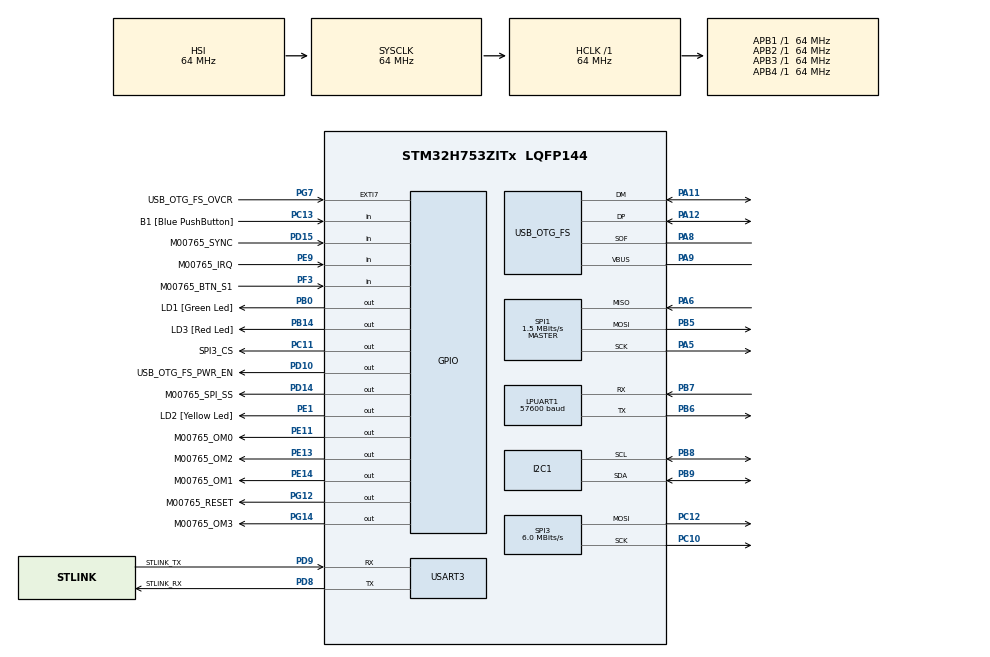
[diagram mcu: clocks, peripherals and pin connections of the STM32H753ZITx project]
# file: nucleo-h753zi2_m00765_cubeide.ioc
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Bdma.LPUART1_RX.0.Direction=DMA_PERIPH_TO_MEMORY
Bdma.LPUART1_RX.0.EventEnable=DISABLE
Bdma.LPUART1_RX.0.Instance=BDMA_Channel0
Bdma.LPUART1_RX.0.MemDataAlignment=DMA_MDATAALIGN_BYTE
Bdma.LPUART1_RX.0.MemInc=DMA_MINC_ENABLE
Bdma.LPUART1_RX.0.Mode=DMA_NORMAL
Bdma.LPUART1_RX.0.PeriphDataAlignment=DMA_PDATAALIGN_BYTE
Bdma.LPUART1_RX.0.PeriphInc=DMA_PINC_DISABLE
Bdma.LPUART1_RX.0.Polarity=HAL_DMAMUX_REQ_GEN_RISING
Bdma.LPUART1_RX.0.Priority=DMA_PRIORITY_LOW
Bdma.LPUART1_RX.0.RequestNumber=1
Bdma.LPUART1_RX.0.SignalID=NONE
Bdma.LPUART1_RX.0.SyncEnable=DISABLE
Bdma.LPUART1_RX.0.SyncPolarity=HAL_DMAMUX_SYNC_NO_EVENT
Bdma.LPUART1_RX.0.SyncRequestNumber=1
Bdma.LPUART1_RX.0.SyncSignalID=NONE
Bdma.LPUART1_TX.1.Direction=DMA_MEMORY_TO_PERIPH
Bdma.LPUART1_TX.1.EventEnable=DISABLE
Bdma.LPUART1_TX.1.Instance=BDMA_Channel1
Bdma.LPUART1_TX.1.MemDataAlignment=DMA_MDATAALIGN_BYTE
Bdma.LPUART1_TX.1.MemInc=DMA_MINC_ENABLE
Bdma.LPUART1_TX.1.Mode=DMA_NORMAL
Bdma.LPUART1_TX.1.PeriphDataAlignment=DMA_PDATAALIGN_BYTE
Bdma.LPUART1_TX.1.PeriphInc=DMA_PINC_DISABLE
Bdma.LPUART1_TX.1.Polarity=HAL_DMAMUX_REQ_GEN_RISING
Bdma.LPUART1_TX.1.Priority=DMA_PRIORITY_LOW
Bdma.LPUART1_TX.1.RequestNumber=1
Bdma.LPUART1_TX.1.SignalID=NONE
Bdma.LPUART1_TX.1.SyncEnable=DISABLE
Bdma.LPUART1_TX.1.SyncPolarity=HAL_DMAMUX_SYNC_NO_EVENT
Bdma.LPUART1_TX.1.SyncRequestNumber=1
Bdma.LPUART1_TX.1.SyncSignalID=NONE
Bdma.Request0=LPUART1_RX
Bdma.Request1=LPUART1_TX
Bdma.RequestsNb=2
CORTEX_M7.CPU_DCache=Disabled
CORTEX_M7.CPU_ICache=Disabled
CORTEX_M7.MPU_Control=__NULL
CORTEX_M7.default_mode_Activation=1
Dma.Request0=SPI1_RX
Dma.Request1=SPI1_TX
Dma.SPI1_RX.0.Direction=DMA_PERIPH_TO_MEMORY
Dma.SPI1_RX.0.EventEnable=DISABLE
Dma.SPI1_RX.0.FIFOMode=DMA_FIFOMODE_DISABLE
Dma.SPI1_RX.0.Instance=DMA1_Stream0
Dma.SPI1_RX.0.MemDataAlignment=DMA_MDATAALIGN_BYTE
Dma.SPI1_RX.0.MemInc=DMA_MINC_ENABLE
Dma.SPI1_RX.0.Mode=DMA_NORMAL
Dma.SPI1_RX.0.PeriphDataAlignment=DMA_PDATAALIGN_BYTE
Dma.SPI1_RX.0.PeriphInc=DMA_PINC_DISABLE
Dma.SPI1_RX.0.Polarity=HAL_DMAMUX_REQ_GEN_RISING
Dma.SPI1_RX.0.Priority=DMA_PRIORITY_LOW
Dma.SPI1_RX.0.RequestNumber=1
Dma.SPI1_RX.0.SignalID=NONE
Dma.SPI1_RX.0.SyncEnable=DISABLE
Dma.SPI1_RX.0.SyncPolarity=HAL_DMAMUX_SYNC_NO_EVENT
Dma.SPI1_RX.0.SyncRequestNumber=1
Dma.SPI1_RX.0.SyncSignalID=NONE
Dma.SPI1_TX.1.Direction=DMA_MEMORY_TO_PERIPH
Dma.SPI1_TX.1.EventEnable=DISABLE
Dma.SPI1_TX.1.FIFOMode=DMA_FIFOMODE_DISABLE
Dma.SPI1_TX.1.Instance=DMA1_Stream1
Dma.SPI1_TX.1.MemDataAlignment=DMA_MDATAALIGN_BYTE
Dma.SPI1_TX.1.MemInc=DMA_MINC_ENABLE
Dma.SPI1_TX.1.Mode=DMA_NORMAL
Dma.SPI1_TX.1.PeriphDataAlignment=DMA_PDATAALIGN_BYTE
Dma.SPI1_TX.1.PeriphInc=DMA_PINC_DISABLE
Dma.SPI1_TX.1.Polarity=HAL_DMAMUX_REQ_GEN_RISING
Dma.SPI1_TX.1.Priority=DMA_PRIORITY_LOW
Dma.SPI1_TX.1.RequestNumber=1
Dma.SPI1_TX.1.SignalID=NONE
Dma.SPI1_TX.1.SyncEnable=DISABLE
Dma.SPI1_TX.1.SyncPolarity=HAL_DMAMUX_SYNC_NO_EVENT
Dma.SPI1_TX.1.SyncRequestNumber=1
Dma.SPI1_TX.1.SyncSignalID=NONE
LPUART1.BaudRate=57600
Mcu.Family=STM32H7
Mcu.Name=STM32H753ZITx
Mcu.Package=LQFP144
NUCLEO-H753ZI.VCP=false
NVIC.BDMA_Channel0_IRQn=true\:0\:0\:false\:false\:true\:false\:true\:true
NVIC.BDMA_Channel1_IRQn=true\:0\:0\:false\:false\:true\:false\:true\:true
NVIC.DMA1_Stream0_IRQn=true\:0\:0\:false\:false\:true\:false\:true\:true
NVIC.DMA1_Stream1_IRQn=true\:0\:0\:false\:false\:true\:false\:true\:true
NVIC.PriorityGroup=NVIC_PRIORITYGROUP_4
NVIC.SPI1_IRQn=true\:0\:0\:false\:false\:true\:false\:true\:true
PA11.Mode=Device_Only
PA11.Signal=USB_OTG_FS_DM
PA12.Mode=Device_Only
PA12.Signal=USB_OTG_FS_DP
PA5.GPIO_PuPd=GPIO_PULLDOWN
PA5.Mode=Full_Duplex_Master
PA5.Signal=SPI1_SCK
PA6.GPIO_PuPd=GPIO_PULLDOWN
PA6.Mode=Full_Duplex_Master
PA6.Signal=SPI1_MISO
PA8.Mode=Activate_SOF_FS
PA8.Signal=USB_OTG_FS_SOF
PA9.Mode=Activate_VBUS
PA9.Signal=USB_OTG_FS_VBUS
PB0.GPIO_Label=LD1 [Green Led]
PB0.Signal=GPIO_Output
PB14.GPIO_Label=LD3 [Red Led]
PB14.Signal=GPIO_Output
PB5.GPIO_PuPd=GPIO_PULLDOWN
PB5.Mode=Full_Duplex_Master
PB5.Signal=SPI1_MOSI
PB6.Mode=Asynchronous
PB6.Signal=LPUART1_TX
PB7.GPIO_PuPd=GPIO_PULLUP
PB7.Mode=Asynchronous
PB7.Signal=LPUART1_RX
PB8.GPIO_Pu=GPIO_PULLUP
PB8.Mode=I2C
PB8.Signal=I2C1_SCL
PB9.GPIO_Pu=GPIO_PULLUP
PB9.Mode=I2C
PB9.Signal=I2C1_SDA
PC10.Mode=TX_Only_Simplex_Unidirect_Master
PC10.Signal=SPI3_SCK
PC11.GPIO_Label=SPI3_CS
PC11.PinState=GPIO_PIN_SET
PC11.Signal=GPIO_Output
PC12.Mode=TX_Only_Simplex_Unidirect_Master
PC12.Signal=SPI3_MOSI
PC13.GPIO_Label=B1 [Blue PushButton]
PC13.Signal=GPIO_Input
PC14-OSC32_IN\ (OSC32_IN).Mode=LSE-External-Oscillator
PC14-OSC32_IN\ (OSC32_IN).Signal=RCC_OSC32_IN
PC15-OSC32_OUT\ (OSC32_OUT).Mode=LSE-External-Oscillator
PC15-OSC32_OUT\ (OSC32_OUT).Signal=RCC_OSC32_OUT
PD10.GPIO_Label=USB_OTG_FS_PWR_EN
PD10.Signal=GPIO_Output
PD14.GPIO_Label=M00765_SPI_SS
PD14.GPIO_PuPd=GPIO_PULLUP
PD14.PinState=GPIO_PIN_SET
PD14.Signal=GPIO_Output
PD15.GPIO_Label=M00765_SYNC
PD15.GPIO_PuPd=GPIO_PULLDOWN
PD15.Signal=GPIO_Input
PD8.GPIO_Label=STLINK_RX
PD8.Mode=Asynchronous
PD8.Signal=USART3_TX
PD9.GPIO_Label=STLINK_TX
PD9.Mode=Asynchronous
PD9.Signal=USART3_RX
PE1.GPIO_Label=LD2 [Yellow Led]
PE1.Signal=GPIO_Output
PE11.GPIO_Label=M00765_OM0
PE11.Signal=GPIO_Output
PE13.GPIO_Label=M00765_OM2
PE13.Signal=GPIO_Output
PE14.GPIO_Label=M00765_OM1
PE14.Signal=GPIO_Output
PE9.GPIO_Label=M00765_IRQ
PE9.GPIO_PuPd=GPIO_PULLUP
PE9.Signal=GPIO_Input
PF3.GPIO_Label=M00765_BTN_S1
PF3.GPIO_PuPd=GPIO_PULLUP
PF3.Signal=GPIO_Input
PG12.GPIO_Label=M00765_RESET
PG12.Signal=GPIO_Output
PG14.GPIO_Label=M00765_OM3
PG14.GPIO_ModeDefaultOutputPP=GPIO_MODE_OUTPUT_OD
PG14.GPIO_PuPd=GPIO_PULLUP
PG14.Signal=GPIO_Output
PG7.GPIO_Label=USB_OTG_FS_OVCR
PG7.Signal=GPXTI7
PH0-OSC_IN\ (PH0).Mode=HSE-External-Clock-Source
PH0-OSC_IN\ (PH0).Signal=RCC_OSC_IN
PH1-OSC_OUT\ (PH1).Signal=RCC_OSC_OUT
ProjectManager.HeapSize=0x200
ProjectManager.StackSize=0x400
ProjectManager.TargetToolchain=STM32CubeIDE
RCC.ADCFreq_Value=16125000
RCC.APB1Freq_Value=64000000
RCC.APB2Freq_Value=64000000
RCC.APB3Freq_Value=64000000
RCC.APB4Freq_Value=64000000
RCC.CSICalibrationValue=16
RCC.CortexFreq_Value=64000000
RCC.DIVM1=1
RCC.DIVN1=24
RCC.DIVQ1=4
RCC.HCLKFreq_Value=64000000
RCC.HSE_VALUE=8000000
RCC.HSICalibrationValue=32
RCC.PLLFRACN=0
RCC.PWR_Regulator_Voltage_Scale=PWR_REGULATOR_VOLTAGE_SCALE2
RCC.ProductRev=revY
RCC.SYSCLKFreq_VALUE=64000000
RCC.USBFreq_Value=48000000
SPI1.BaudRatePrescaler=SPI_BAUDRATEPRESCALER_32
SPI1.CalculateBaudRate=1.5 MBits/s
SPI1.DataSize=SPI_DATASIZE_8BIT
SPI1.Direction=SPI_DIRECTION_2LINES
SPI1.Mode=SPI_MODE_MASTER
SPI1.VirtualType=VM_MASTER
SPI3.BaudRatePrescaler=SPI_BAUDRATEPRESCALER_8
SPI3.CalculateBaudRate=6.0 MBits/s
SPI3.DataSize=SPI_DATASIZE_8BIT
SPI3.Direction=SPI_DIRECTION_2LINES_TXONLY
SPI3.Mode=SPI_MODE_MASTER
SPI3.VirtualType=VM_MASTER
USART3.VirtualMode-Asynchronous=VM_ASYNC
USB_OTG_FS.VirtualMode=Device_Only
VP_MEMORYMAP_VS_MEMORYMAP.Mode=CurAppReg
VP_NUCLEO-H753ZI_VS_BSP_COMMON.Mode=COMMON
board=NUCLEO-H753ZI

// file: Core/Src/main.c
/* USER CODE BEGIN Header */
/**
  ******************************************************************************
  * @file           : main.c
  * @brief          : Main program body
  ******************************************************************************
  * @attention
  *
  * Copyright (c) 2025 STMicroelectronics.
  * All rights reserved.
  *
  * This software is licensed under terms that can be found in the LICENSE file
  * in the root directory of this software component.
  * If no LICENSE file comes with this software, it is provided AS-IS.
  *
  ******************************************************************************
  */
/* USER CODE END Header */
#include "main.h"
#include "bdma.h"
#include "dma.h"
#include "i2c.h"
#include "usart.h"
#include "spi.h"
#include "usb_otg.h"
#include "gpio.h"

/* USER CODE BEGIN Includes */
#include <stdio.h>
#include <stdint.h>
#include <stdbool.h>
#include <inttypes.h>

#include "abcc.h"
#include "abcc_hardware_abstraction_aux.h"
#include "abcc_api.h"

#include "io_config.h"
/* USER CODE END Includes */

void SystemClock_Config(void);
/* USER CODE BEGIN PFP */
/*
** Overrides the weak _write function to route printf to the SWV ITM Data
** Console.
*/
int _write(int file, char *ptr, int len)
{
  (void)file;
  int DataIdx;

  for (DataIdx = 0; DataIdx < len; DataIdx++)
  {
    ITM_SendChar(*ptr++);
  }
  return len;
}
/* USER CODE END PFP */

/* USER CODE BEGIN 0 */
/*------------------------------------------------------------------------------
** ABCC_API_CbfUserInit()
** Place to take action based on ABCC module network type and firmware version.
** Calls ABCC_API_UserInitComplete() to indicate to the abcc_driver to continue.
**------------------------------------------------------------------------------
*/
void ABCC_API_CbfUserInit( ABCC_API_NetworkType iNetworkType, ABCC_API_FwVersionType iFirmwareVersion )
{
   ABCC_API_UserInitComplete();
   return;
}
/* USER CODE END 0 */

int main(void)
{

  /* USER CODE BEGIN 1 */
	   /*-------------------------------------------------------------------------
	   **
	   ** Port of the ABCC example code for the Nucleo-H753ZI2 board and the
	   ** M00765 ABCC adapter board.
	   **
	   ** All HW/interface reservations and initializations has been made via the
	   ** 'CubeMX' project, this includes the define:s for the I/O pins and the
	   ** initial settings for the I2C, SPI, and UART communication interfaces.
	   ** All additions or changes made in the CubeMX-generated files should be
	   ** inside the "USER X BEGIN/END" markers so updates to that project file
	   ** should be possible to apply without interfering with the ABCC-related
	   ** parts.
	   **
	   ** The __io_putchar() and __io_getchar functions has been added to usart.c
	   ** to allow for console I/O, but is not complete. FIFO/interrupt support
	   ** remains to do.
	   **
	   ** Basic operation with SPI or UART shall work. Both implementations runs
	   ** with polling operation. Interrupt-driven operation for SPI, and porting
	   ** of the critical section macros, remains "to do", as does SYNC support.
	   **
	   **-------------------------------------------------------------------------
	   */

	   UINT8    bConsoleInput;

	   /*
	   ** Timekeeping variables for the ABCC driver. The ABCC_API_RunTimerSystem()
	   ** requires a reasonably accurate reference, in this implementation the
	   ** 1ms HAL_GetTick() is used as a time base.
	   */
	   UINT32   lTickThen;
	   UINT32   lTickNow;
	   UINT32   lTickDiff;

	   /*
	   ** The RESTART button on the M00765 PCB should be flank sensitive so we
	   ** need variables to keep track of its state.
	   */
	   BOOL  fAbccRestartButtonThen;
	   BOOL  fAbccRestartButtonNow;

	   ABCC_ErrorCodeType eErrorCode = ABCC_EC_NO_ERROR;
  /* USER CODE END 1 */

  /* MCU Configuration--------------------------------------------------------*/

  /* Reset of all peripherals, Initializes the Flash interface and the Systick. */
  HAL_Init();

  /* Configure the system clock */
  SystemClock_Config();

  /* Initialize all configured peripherals */
  MX_DMA_Init();
  MX_BDMA_Init();
  MX_GPIO_Init();
  MX_I2C1_Init();
  MX_LPUART1_UART_Init();
  MX_SPI1_Init();
  MX_USART3_UART_Init();
  MX_USB_OTG_FS_PCD_Init();
  MX_SPI3_Init();
  /* USER CODE BEGIN 2 */
  printf( "%c", 12 ); /* 12 = 'form feed' */
  printf( "HMS Industrial Networks\n" );
  printf( "Embedded ABCC Demo\n" );
  printf( "NUCLEO-H743ZI2 with M00765 option card\n" );
  printf( "\n" );

  /*
  ** Inform the adaptation functions in "abcc_hardware_abstraction.c" which I2C,
  ** SPI and UART interfaces to use for the M00765 PCB and the ABCC. It is
  ** assumed that those interfaces already has been claimed/reserved via the
  ** CubeMX configuration tool, and that its code generator has defined the
  ** corresponding structures here in the "main.c" so that the only
  ** remaining task is to pass on pointers to those existing structures.
  */
  if( !ABCC_HAL_Set_I2C_Handle( &hi2c1 ) )
  {
     Error_Handler();
  }
  if( !ABCC_HAL_Set_SPI_Handle( &hspi1 ) )
  {
     Error_Handler();
  }
  if( !ABCC_HAL_Set_UART_Handle( &hlpuart1 ) )
  {
     Error_Handler();
  }

  if( ABCC_API_Init() != ABCC_EC_NO_ERROR )
  {
     Error_Handler();
  }

  lTickThen = HAL_GetTick();
  fAbccRestartButtonThen = ABCC_HAL_GetRestartButton();

  IO_InitAll();
  /* USER CODE END 2 */

  /* Infinite loop */
  while (1)
  {

    /* USER CODE BEGIN 3 */
      /*
      ** Handle console input.
      */
      if( HAL_UART_Receive( &huart3, &bConsoleInput, 1, 0 ) == HAL_OK )
      {
      /* TODO - Restart the ABCC when someone presses 'R' ? */
      /* TODO - Dump some statistics data ? */
      }

      /*
      ** Run the ABCC driver and handle any state-dependent actions.
      */
      eErrorCode = ABCC_API_Run();

      if( eErrorCode != ABCC_EC_NO_ERROR )
      {
         printf( "ABCC_API_Run() returned error code %d\n", eErrorCode );
         break;
      }

      /*
      ** Poll the system timer and inform ABCC_API_RunTimerSystem() about how
      ** much time that has elapsed.
      */
      lTickNow = HAL_GetTick();
      if( lTickNow != lTickThen )
      {
         lTickDiff = lTickNow - lTickThen;
         lTickThen = lTickNow;

         /*
         ** Make sure that *all* elapsed time is accounted for...
         */
         while( lTickDiff > 0 )
         {
            if( lTickDiff > ABP_SINT16_MAX )
            {
               ABCC_API_RunTimerSystem( ABP_SINT16_MAX );
               lTickDiff -= ABP_SINT16_MAX;
            }
            else
            {
               ABCC_API_RunTimerSystem( (INT16)lTickDiff );
               lTickDiff = 0;
            }
         }
      }

      /*
      ** Restart the ABCC when the S1/RESTART is pushed down. Debouncing is not
      ** needed since the button is wired via a voltage WD chip (U4).
      */
      fAbccRestartButtonNow = ABCC_HAL_GetRestartButton();
      if( fAbccRestartButtonNow != fAbccRestartButtonThen )
      {
         fAbccRestartButtonThen = fAbccRestartButtonNow;
         if( !fAbccRestartButtonThen )
         {
            ABCC_API_Restart();
         }
      }
  }

  ABCC_API_Shutdown();
  while (1)
  {
      /*
      ** The program has ended and shall be terminated.
      */
  }
  /* USER CODE END 3 */
}

void SystemClock_Config(void)
{
  RCC_OscInitTypeDef RCC_OscInitStruct = {0};
  RCC_ClkInitTypeDef RCC_ClkInitStruct = {0};

  /** Supply configuration update enable
  */
  HAL_PWREx_ConfigSupply(PWR_LDO_SUPPLY);

  /** Configure the main internal regulator output voltage
  */
  __HAL_PWR_VOLTAGESCALING_CONFIG(PWR_REGULATOR_VOLTAGE_SCALE2);

  while(!__HAL_PWR_GET_FLAG(PWR_FLAG_VOSRDY)) {}

  /** Initializes the RCC Oscillators according to the specified parameters
  * in the RCC_OscInitTypeDef structure.
  */
  RCC_OscInitStruct.OscillatorType = RCC_OSCILLATORTYPE_HSI|RCC_OSCILLATORTYPE_HSE;
  RCC_OscInitStruct.HSEState = RCC_HSE_BYPASS;
  RCC_OscInitStruct.HSIState = RCC_HSI_DIV1;
  RCC_OscInitStruct.HSICalibrationValue = RCC_HSICALIBRATION_DEFAULT;
  RCC_OscInitStruct.PLL.PLLState = RCC_PLL_ON;
  RCC_OscInitStruct.PLL.PLLSource = RCC_PLLSOURCE_HSE;
  RCC_OscInitStruct.PLL.PLLM = 1;
  RCC_OscInitStruct.PLL.PLLN = 24;
  RCC_OscInitStruct.PLL.PLLP = 2;
  RCC_OscInitStruct.PLL.PLLQ = 4;
  RCC_OscInitStruct.PLL.PLLR = 2;
  RCC_OscInitStruct.PLL.PLLRGE = RCC_PLL1VCIRANGE_3;
  RCC_OscInitStruct.PLL.PLLVCOSEL = RCC_PLL1VCOWIDE;
  RCC_OscInitStruct.PLL.PLLFRACN = 0;
  if (HAL_RCC_OscConfig(&RCC_OscInitStruct) != HAL_OK)
  {
    Error_Handler();
  }

  /** Initializes the CPU, AHB and APB buses clocks
  */
  RCC_ClkInitStruct.ClockType = RCC_CLOCKTYPE_HCLK|RCC_CLOCKTYPE_SYSCLK
                              |RCC_CLOCKTYPE_PCLK1|RCC_CLOCKTYPE_PCLK2
                              |RCC_CLOCKTYPE_D3PCLK1|RCC_CLOCKTYPE_D1PCLK1;
  RCC_ClkInitStruct.SYSCLKSource = RCC_SYSCLKSOURCE_HSI;
  RCC_ClkInitStruct.SYSCLKDivider = RCC_SYSCLK_DIV1;
  RCC_ClkInitStruct.AHBCLKDivider = RCC_HCLK_DIV1;
  RCC_ClkInitStruct.APB3CLKDivider = RCC_APB3_DIV1;
  RCC_ClkInitStruct.APB1CLKDivider = RCC_APB1_DIV1;
  RCC_ClkInitStruct.APB2CLKDivider = RCC_APB2_DIV1;
  RCC_ClkInitStruct.APB4CLKDivider = RCC_APB4_DIV1;

  if (HAL_RCC_ClockConfig(&RCC_ClkInitStruct, FLASH_LATENCY_1) != HAL_OK)
  {
    Error_Handler();
  }
}

void Error_Handler(void)
{
  __disable_irq();
  while (1)
  {
  }
}
